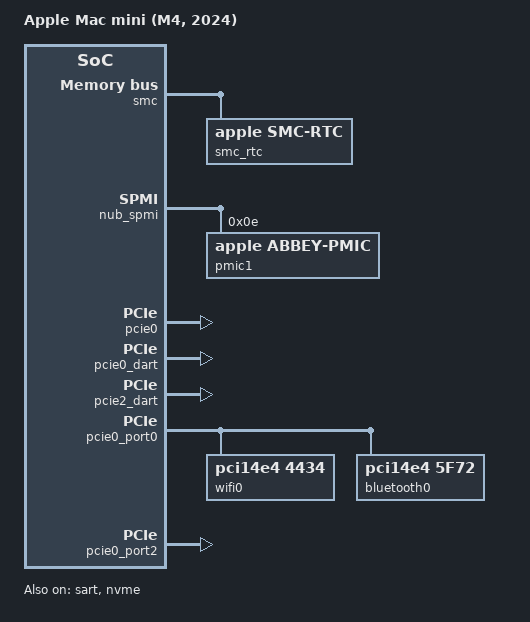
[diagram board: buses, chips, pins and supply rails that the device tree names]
// SPDX-License-Identifier: GPL-2.0+ OR MIT
/*
 * Apple Mac mini (M4, 2024)
 *
 * target-type: J773g
 *
 * Copyright The Asahi Linux Contributors
 */

/dts-v1/;

#include "t8132.dtsi"
#include "t8132-jxxx.dtsi"

/ {
	compatible = "apple,j773g", "apple,t8132", "apple,arm-platform";
	model = "Apple Mac mini (M4, 2024)";

	aliases {
		bluetooth0 = &bluetooth0;
		ethernet0 = &ethernet0;
		wifi0 = &wifi0;
	};
};

/*
 * Persistent console capture for early T8132 bring-up failures. Keep this
 * near the top of RAM, outside m1n1's kernel/initramfs load area.
 */
&{/reserved-memory} {
	ramoops@103e0000000 {
		compatible = "ramoops";
		reg = <0x103 0xe0000000 0x0 0x200000>;
		record-size = <0x40000>;
		console-size = <0x100000>;
		pmsg-size = <0x40000>;
	};
};

/*
 * Keep the power-domains used for the HDMI port on.
 */
&framebuffer0 {
	power-domains = <&ps_dispext0_fe>, <&ps_dptx_phy>;
};

&smc_mbox {
	status = "okay";
};

&smc {
	status = "okay";

	smc_reboot: reboot {
		compatible = "apple,smc-reboot";
		nvmem-cells = <&shutdown_flag>, <&boot_stage>,
			      <&boot_error_count>, <&panic_count>;
		nvmem-cell-names = "shutdown_flag", "boot_stage",
				   "boot_error_count", "panic_count";
	};

	smc_rtc: rtc {
		compatible = "apple,smc-rtc";
		nvmem-cells = <&rtc_offset>;
		nvmem-cell-names = "rtc_offset";
	};
};

&nub_spmi {
	status = "okay";

	pmic1: pmic@e {
		compatible = "apple,abbey-pmic", "apple,spmi-nvmem";
		reg = <0xe SPMI_USID>;

		nvmem-layout {
			compatible = "fixed-layout";
			#address-cells = <1>;
			#size-cells = <1>;

			pm_setting: pm-setting@2001 {
				reg = <0x2001 0x1>;
			};

			rtc_offset: rtc-offset@2100 {
				reg = <0x2100 0x6>;
			};

			fault_shadow: fault-shadow@867b {
				reg = <0x867b 0x10>;
			};

			socd: socd@8b00 {
				reg = <0x8b00 0x1800>;
			};

			boot_stage: boot-stage@f801 {
				reg = <0xf801 0x1>;
			};

			boot_error_count: boot-error-count@f802,0 {
				reg = <0xf802 0x1>;
				bits = <0 4>;
			};

			panic_count: panic-count@f802,4 {
				reg = <0xf802 0x1>;
				bits = <4 4>;
			};

			shutdown_flag: shutdown-flag@f80f,3 {
				reg = <0xf80f 0x1>;
				bits = <3 1>;
			};
		};
	};
};

/* Internal SSD */

&ans_mbox {
	status = "okay";
};

&sart {
	status = "okay";
};

&nvme {
	status = "okay";
};

/*
 * Internal PCIe: Wi-Fi and Bluetooth (BCM4388) on port 0 and Ethernet on
 * port 2 (an AQC113 on the 10 Gb Ethernet model). Port 1 is not wired.
 * Fixed bus numbers let the device nodes below carry the MAC and
 * Bluetooth addresses and the calibration the loader fills in.
 */

&pcie0 {
	iommu-map = <0x100 &pcie0_dart 1 1>,
		    <0x200 &pcie2_dart 1 1>;
	status = "okay";
};

&pcie0_dart {
	status = "okay";
};

&pcie2_dart {
	status = "okay";
};

&pcie0_port0 {
	pwren-gpios = <&smc_gpio 19 GPIO_ACTIVE_HIGH>;
	bus-range = <1 1>;
	status = "okay";

	wifi0: wifi@0,0 {
		compatible = "pci14e4,4434";
		reg = <0x10000 0x0 0x0 0x0 0x0>;
		/* To be filled by the loader */
		local-mac-address = [00 00 00 00 00 00];
		apple,antenna-sku = "XX";
		brcm,board-type = "apple,sakhalin";
	};

	bluetooth0: bluetooth@0,1 {
		compatible = "pci14e4,5f72";
		reg = <0x10100 0x0 0x0 0x0 0x0>;
		/* To be filled by the loader */
		local-bd-address = [00 00 00 00 00 00];
		brcm,board-type = "apple,sakhalin";
	};
};

&pcie0_port2 {
	bus-range = <2 2>;
	status = "okay";

	ethernet0: ethernet@0,0 {
		reg = <0x20000 0x0 0x0 0x0 0x0>;
		/* To be filled by the loader */
		local-mac-address = [00 10 18 00 00 00];
	};
};
